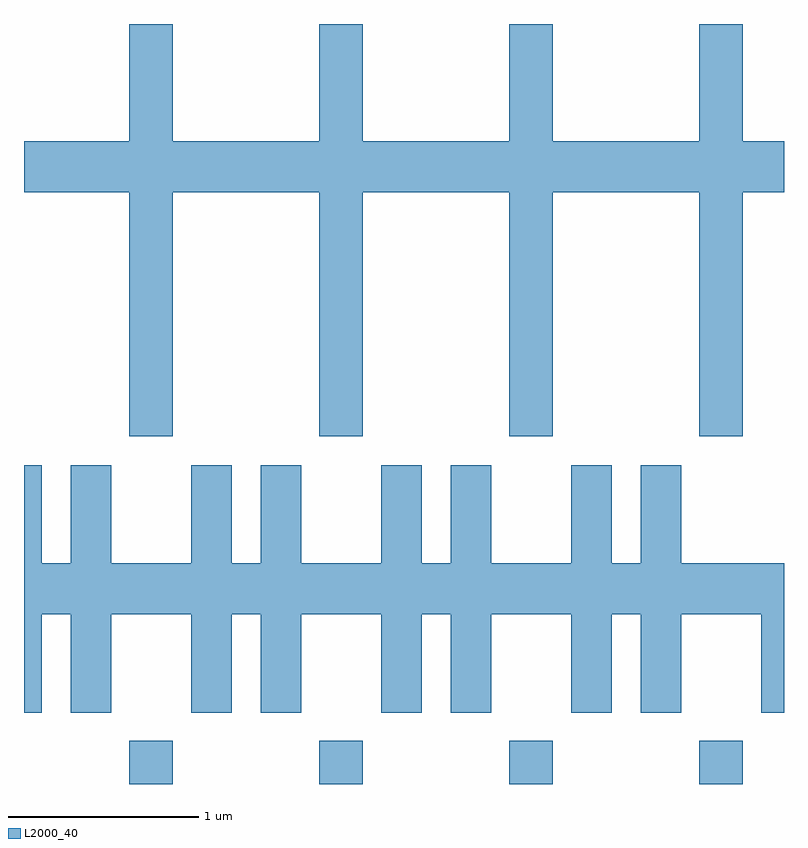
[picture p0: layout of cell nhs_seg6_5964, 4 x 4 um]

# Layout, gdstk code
import gdstk
lib = gdstk.Library(unit=1e-6, precision=1e-09)
def R(c, l, rs):  # rectangles x0, y0, x1, y1
    for r in rs: c.add(gdstk.rectangle(r[:2], r[2:], *l))
def A(c, l, x, y, w, h, nx, ny, dx, dy):  # array of equal rectangles
    R(c, l, [(x+i*dx, y+j*dy, x+i*dx+w, y+j*dy+h) for i in range(nx) for j in range(ny)])
def P(c, l, *ps):  # polygons
    for p in ps: c.add(gdstk.Polygon(p, *l))
L2000_40 = (2000, 40)

nhs_seg6_5964 = lib.new_cell('nhs_seg6_5964')
A(nhs_seg6_5964, L2000_40, 366.166, 1640.162, 0.228, 0.227, 4, 1, 1, 0)
P(nhs_seg6_5964, L2000_40, [(366.394,1643.276),(367.166,1643.276),(367.166,1641.991),(367.394,1641.991),(367.394,1643.276),(368.166,1643.276),(368.166,1641.991),(368.394,1641.991),(368.394,1643.276),(369.166,1643.276),(369.166,1641.991),(369.394,1641.991),(369.394,1643.276),(369.611,1643.276),(369.611,1643.544),(369.394,1643.544),(369.394,1644.162),(369.166,1644.162),(369.166,1643.544),(368.394,1643.544),(368.394,1644.162),(368.166,1644.162),(368.166,1643.544),(367.394,1643.544),(367.394,1644.162),(367.166,1644.162),(367.166,1643.544),(366.394,1643.544),(366.394,1644.162),(366.166,1644.162),(366.166,1643.544),(365.611,1643.544),(365.611,1643.276),(366.166,1643.276),(366.166,1641.991),(366.394,1641.991)],
  [(367.856,1641.839),(367.856,1641.324),(367.704,1641.324),(367.704,1641.839),(367.491,1641.839),(367.491,1641.324),(367.069,1641.324),(367.069,1641.839),(366.856,1641.839),(366.856,1641.324),(366.704,1641.324),(366.704,1641.839),(366.491,1641.839),(366.491,1641.324),(366.069,1641.324),(366.069,1641.839),(365.856,1641.839),(365.856,1641.324),(365.704,1641.324),(365.704,1641.839),(365.611,1641.839),(365.611,1640.536),(365.704,1640.536),(365.704,1641.056),(365.856,1641.056),(365.856,1640.536),(366.069,1640.536),(366.069,1641.056),(366.491,1641.056),(366.491,1640.536),(366.704,1640.536),(366.704,1641.056),(366.856,1641.056),(366.856,1640.536),(367.069,1640.536),(367.069,1641.056),(367.491,1641.056),(367.491,1640.536),(367.704,1640.536),(367.704,1641.056),(367.856,1641.056),(367.856,1640.536),(368.069,1640.536),(368.069,1641.056),(368.491,1641.056),(368.491,1640.536),(368.704,1640.536),(368.704,1641.056),(368.856,1641.056),(368.856,1640.536),(369.069,1640.536),(369.069,1641.056),(369.491,1641.056),(369.491,1640.536),(369.611,1640.536),(369.611,1641.324),(369.069,1641.324),(369.069,1641.839),(368.856,1641.839),(368.856,1641.324),(368.704,1641.324),(368.704,1641.839),(368.491,1641.839),(368.491,1641.324),(368.069,1641.324),(368.069,1641.839)])

lib.write_gds('nhs_seg6_5964.gds')
